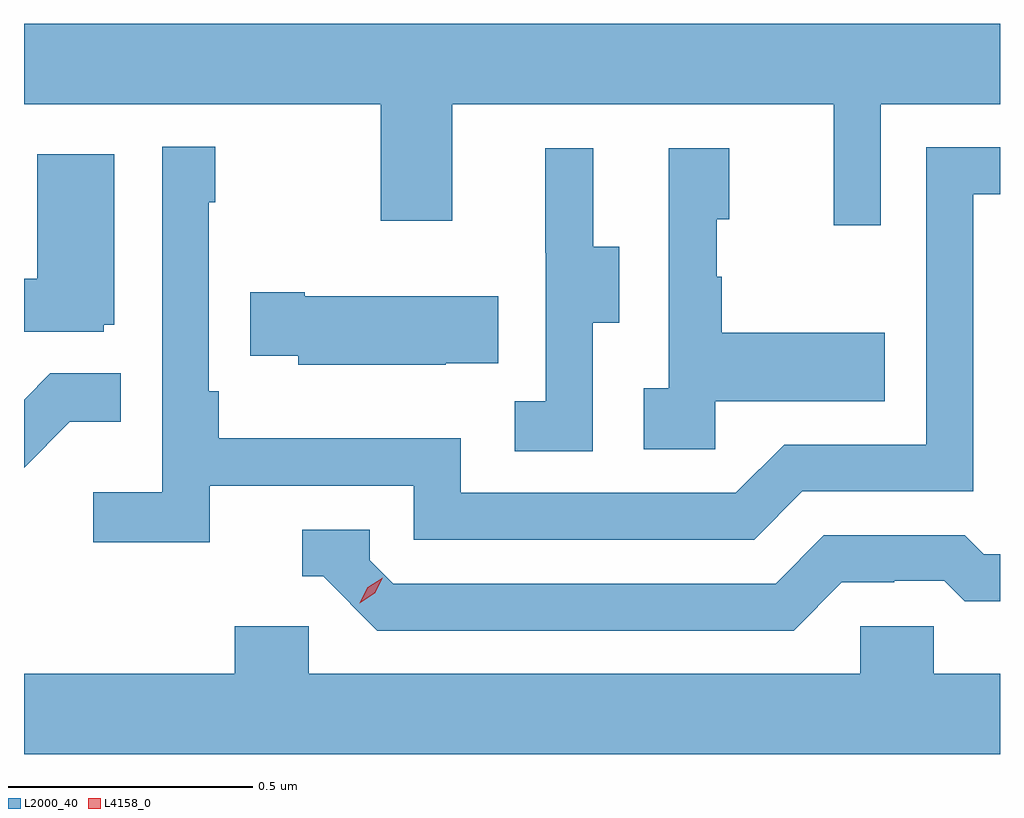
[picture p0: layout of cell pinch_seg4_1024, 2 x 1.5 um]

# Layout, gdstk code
import gdstk
lib = gdstk.Library(unit=1e-6, precision=1e-09)
def P(c, l, *ps):  # polygons
    for p in ps: c.add(gdstk.Polygon(p, *l))
L2000_40 = (2000, 40)
L4158_0 = (4158, 0)

pinch_seg4_1024 = lib.new_cell('pinch_seg4_1024')
P(pinch_seg4_1024, L2000_40, [(803.991,790.16),(804.235,790.16),(804.235,790.324),(802.235,790.324),(802.235,790.16),(802.966,790.16),(802.966,789.921),(803.113,789.921),(803.113,790.16),(803.894,790.16),(803.894,789.912),(803.991,789.912)],
  [(802.616,789.378),(803.034,789.378),(803.034,789.267),(803.731,789.267),(803.83,789.366),(804.18,789.366),(804.18,789.975),(804.235,789.975),(804.235,790.071),(804.084,790.071),(804.084,789.462),(803.793,789.462),(803.694,789.363),(803.13,789.363),(803.13,789.475),(802.634,789.475),(802.634,789.571),(802.614,789.571),(802.614,789.959),(802.627,789.959),(802.627,790.072),(802.518,790.072),(802.518,789.364),(802.377,789.364),(802.377,789.262),(802.616,789.262)],
  [(803.4,789.712),(803.455,789.712),(803.455,789.867),(803.401,789.867),(803.401,790.069),(803.303,790.069),(803.303,789.855),(803.304,789.855),(803.304,789.551),(803.241,789.551),(803.241,789.448),(803.4,789.448)],
  [(803.652,789.551),(803.999,789.551),(803.999,789.691),(803.665,789.691),(803.665,789.806),(803.655,789.806),(803.655,789.924),(803.68,789.924),(803.68,790.069),(803.556,790.069),(803.556,789.578),(803.505,789.578),(803.505,789.453),(803.652,789.453)],
  [(802.398,789.708),(802.42,789.708),(802.42,790.057),(802.262,790.057),(802.262,789.802),(802.235,789.802),(802.235,789.693),(802.398,789.693)],
  [(803.099,789.629),(803.207,789.629),(803.207,789.766),(802.81,789.766),(802.81,789.774),(802.699,789.774),(802.699,789.644),(802.797,789.644),(802.797,789.626),(803.099,789.626)],
  [(802.329,789.509),(802.433,789.509),(802.433,789.608),(802.289,789.608),(802.235,789.554),(802.235,789.415)],
  [(803.911,789.18),(804.018,789.18),(804.018,789.183),(804.121,789.183),(804.163,789.141),(804.235,789.141),(804.235,789.237),(804.202,789.237),(804.163,789.276),(803.874,789.276),(803.775,789.177),(802.992,789.177),(802.944,789.225),(802.944,789.288),(802.805,789.288),(802.805,789.192),(802.848,789.192),(802.959,789.081),(803.812,789.081)],
  [(804.235,788.992),(804.099,788.992),(804.099,789.09),(803.949,789.09),(803.949,788.992),(802.818,788.992),(802.818,789.09),(802.667,789.09),(802.667,788.992),(802.235,788.992),(802.235,788.828),(804.235,788.828)])
P(pinch_seg4_1024, L4158_0, [(802.923,789.137),(802.923,789.138),(802.939,789.17),(802.97,789.189),(802.97,789.189),(802.97,789.189),(802.954,789.157),(802.923,789.137)])

lib.write_gds('pinch_seg4_1024.gds')
